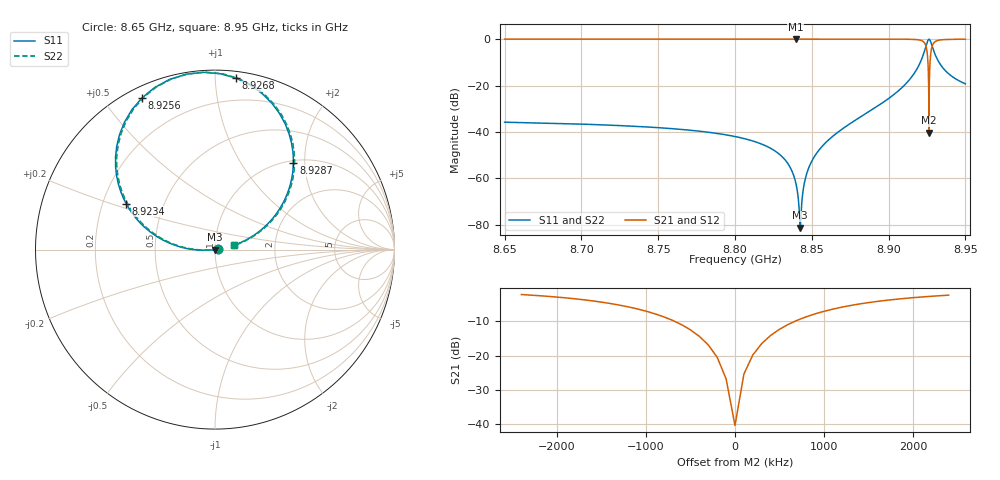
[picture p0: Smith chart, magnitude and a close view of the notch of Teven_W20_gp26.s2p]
! Sonnet Data File
! From: emgraph Version : 16.52
! From Project: transmon_trial
! Data is De-embedded
! Data File Written: 10/20/2017 09:13:08
!< HDATE 10/19/2017 20:03:37
!< MDATE 10/19/2017 20:10:25
!< PARAMS
!< Lj = 15.24
!< Gap = 26.0
!< Width = 20.0
!< Airgap = 12.0
!< Pwidth = 2000.0
!< END PARAMS
# GHZ S MA R 51.00000
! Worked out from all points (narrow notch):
!   3001 points, 8.65 GHz to 8.95 GHz, reference 51 ohm
!   highest |S21| = 0.00 dB at 8.8395 GHz (marker M1); lowest = -40.3 dB at 8.9263 GHz (marker M2)
!   notch at M2: 40.3 dB deep, 404 kHz wide at half that depth
!   lowest |S11| = -81.2 dB at 8.8425 GHz (marker M3), VSWR 1.00, Z = 51 - j0.00889 ohm
!   |S11| at or under -10 dB: start of sweep to 8.9206 GHz; 8.932828 GHz to end of sweep
!   |S22| runs from -79.8 to -0.1 dB; largest |S21 - S12| = 0
!   S11 on the Smith chart (normalised r, x): 8.65 GHz: 1.03, +0.01; 8.9234 GHz: 0.30, +0.22; 8.9256 GHz: 0.04, +0.63; 8.9268 GHz: 0.04, +1.13; 8.9287 GHz: 1.05, +1.76; 8.95 GHz: 1.24, +0.06
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8.65  0.01626 10.0  0.9999 -80.0  0.9999 -80.0  0.01626 9.9
!< P1 F=8.65 Eeff=(6.44623598 -2.9974e-5) Z0=(50.9069312 1.15726e-4) R=0.0 C=0.0
!< P2 F=8.65 Eeff=(6.44623598 -2.9974e-5) Z0=(50.9069312 1.15726e-4) R=0.0 C=0.0
8.7  0.01479 9.5  0.9999 -80.6  0.9999 -80.6  0.01479 9.4
8.75  0.01239 8.8  0.9999 -81.2  0.9999 -81.2  0.01239 8.9
8.8  0.007992 7.8  1 -81.9  1 -81.9  0.007992 8.4
8.8279  0.003532 6.5  1 -82.4  1 -82.4  0.003532 8.8
8.8353  0.001883 5.1  1 -82.6  1 -82.6  0.001884 10.1
8.8395  0.0008223 1.6  1 -82.7  1 -82.7  0.0008238 14.0
8.8415  0.0002873 -10.0  1 -82.7  1 -82.7  0.000292 27.2
8.8425  8.727e-05 -87.5  1 -82.8  1 -82.8  0.0001019 101.3
8.846  0.001053 -167.7  1 -82.8  1 -82.8  0.001055 -178.8
8.85  0.00236 -170.5  1 -83.0  1 -83.0  0.002361 -175.8
8.8643  0.008431 -172.5  1 -83.4  1 -83.4  0.008431 -174.5
8.9  0.05253 -175.9  0.9986 -86.3  0.9986 -86.3  0.05253 -176.8
8.9187  0.235 173.2  0.9714 -97.1  0.9714 -97.1  0.235 172.4
8.9234  0.5576 152.6  0.8265 -117.4  0.8265 -117.4  0.5577 151.8
8.9256  0.9378 115.7  0.3237 -153.2  0.3237 -153.2  0.9378 115.0
8.9263  0.9913 96.6  0.009611 -58.5  0.009611 -58.5  0.9913 95.8
8.9268  0.9623 82.9  0.2407 -9.4  0.2407 -9.4  0.9623 82.2
8.9287  0.6513 47.9  0.7542 -42.9  0.7542 -42.9  0.6513 47.1
8.9307  0.4342 32.8  0.8992 -57.8  0.8992 -57.8  0.4342 32.0
8.9337  0.2847 23.4  0.958 -67.1  0.958 -67.1  0.2847 22.7
8.95  0.109 12.9  0.994 -77.5  0.994 -77.5  0.109 12.2
